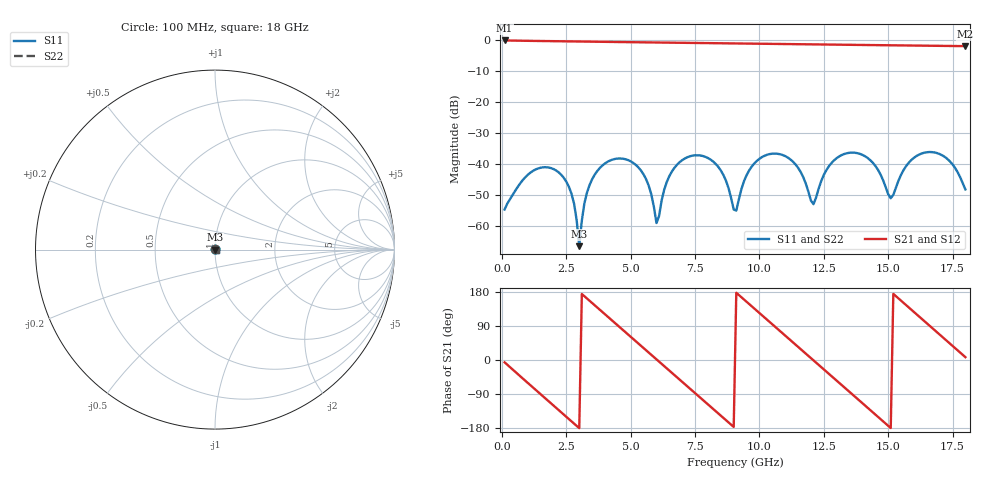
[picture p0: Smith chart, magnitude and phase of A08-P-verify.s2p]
! yapnr rf coupon A: A08 P VER28 (verify, family P)
! stackup JLC04161H-7628, nominal parameters; reference planes 10 mm from each end; 50 ohm (renormalized from the line's Zc)
! model: 2D quasi-static RLGC (Djordjevic-Sarkar, Huray roughness, Wheeler loss); generated by python -m yapnr.rf.coupons expected
# GHz S DB R 50
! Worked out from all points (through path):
!   180 points, 100 MHz to 18 GHz, reference 50 ohm
!   highest |S21| = -0.03 dB at 100 MHz (marker M1); lowest = -1.9 dB at 18 GHz (marker M2)
!   group delay of S21, straight-line fit = 165 ps
!   lowest |S11| = -66.5 dB at 3 GHz (marker M3), VSWR 1.00, Z = 50 + j0.0105 ohm
!   |S11| at or under -10 dB: start of sweep to end of sweep
!   |S22| runs from -66.5 to -36.1 dB; largest |S21 - S12| = 0
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0.1  -54.64 28.6  -0.03 -6.2  -0.03 -6.2  -54.64 28.6
1.1  -42.75 28.0  -0.16 -66.4  -0.16 -66.4  -42.75 28.0
2  -41.58 -16.0  -0.26 -120.2  -0.26 -120.2  -41.58 -16.0
2.7  -49.60 -49.8  -0.34 -162.0  -0.34 -162.0  -49.60 -49.8
3  -66.49 12.8  -0.37 -179.9  -0.37 -179.9  -66.49 12.8
3.1  -58.22 76.6  -0.38 174.2  -0.38 174.2  -58.22 76.6
3.6  -43.39 66.8  -0.44 144.4  -0.44 144.4  -43.39 66.8
4.5  -38.18 17.7  -0.53 90.9  -0.53 90.9  -38.18 17.7
5.4  -42.07 -30.1  -0.63 37.4  -0.63 37.4  -42.07 -30.1
6.1  -56.74 55.9  -0.70 -4.3  -0.70 -4.3  -56.74 55.9
6.6  -42.35 66.0  -0.75 -34.0  -0.75 -34.0  -42.35 66.0
7.5  -37.13 19.6  -0.84 -87.5  -0.84 -87.5  -37.13 19.6
8.4  -40.87 -26.1  -0.93 -140.9  -0.93 -140.9  -40.87 -26.1
9.1  -55.00 35.9  -1.00 177.4  -1.00 177.4  -55.00 35.9
9.6  -42.01 64.2  -1.05 147.7  -1.05 147.7  -42.01 64.2
10.5  -36.61 20.9  -1.14 94.2  -1.14 94.2  -36.61 20.9
11.4  -40.07 -22.8  -1.23 40.7  -1.23 40.7  -40.07 -22.8
12.1  -52.92 22.4  -1.30 -0.9  -1.30 -0.9  -52.92 22.4
13.6  -36.26 16.9  -1.45 -90.2  -1.45 -90.2  -36.26 16.9
15.1  -51.00 14.8  -1.59 -179.5  -1.59 -179.5  -51.00 14.8
16.6  -36.07 17.7  -1.73 91.0  -1.73 91.0  -36.07 17.7
18  -48.15 -7.7  -1.87 7.5  -1.87 7.5  -48.15 -7.7
